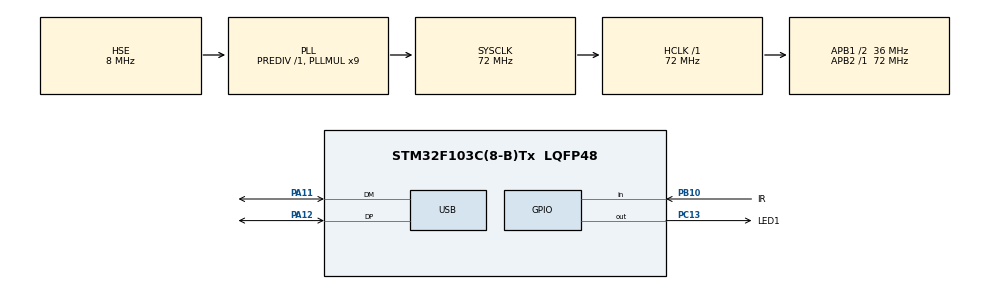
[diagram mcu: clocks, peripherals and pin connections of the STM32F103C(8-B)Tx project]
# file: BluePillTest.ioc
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Mcu.Family=STM32F1
Mcu.Name=STM32F103C(8-B)Tx
Mcu.Package=LQFP48
NVIC.PriorityGroup=NVIC_PRIORITYGROUP_4
NVIC.USB_LP_CAN1_RX0_IRQn=true\:0\:0\:false\:false\:true\:false\:true
PA11.Mode=Device
PA11.Signal=USB_DM
PA12.Mode=Device
PA12.Signal=USB_DP
PA13.Mode=Serial_Wire
PA13.Signal=SYS_JTMS-SWDIO
PA14.Mode=Serial_Wire
PA14.Signal=SYS_JTCK-SWCLK
PB10.GPIO_Label=IR
PB10.Signal=GPIO_Input
PC13-TAMPER-RTC.GPIO_Label=LED1
PC13-TAMPER-RTC.Signal=GPIO_Output
PC14-OSC32_IN.Mode=LSE-External-Oscillator
PC14-OSC32_IN.Signal=RCC_OSC32_IN
PC15-OSC32_OUT.Mode=LSE-External-Oscillator
PC15-OSC32_OUT.Signal=RCC_OSC32_OUT
PD0-OSC_IN.Mode=HSE-External-Oscillator
PD0-OSC_IN.Signal=RCC_OSC_IN
PD1-OSC_OUT.Mode=HSE-External-Oscillator
PD1-OSC_OUT.Signal=RCC_OSC_OUT
ProjectManager.HeapSize=0x200
ProjectManager.StackSize=0x400
ProjectManager.TargetToolchain=STM32CubeIDE
RCC.AHBFreq_Value=72000000
RCC.APB1CLKDivider=RCC_HCLK_DIV2
RCC.APB1Freq_Value=36000000
RCC.APB1TimFreq_Value=72000000
RCC.APB2Freq_Value=72000000
RCC.APB2TimFreq_Value=72000000
RCC.HCLKFreq_Value=72000000
RCC.PLLMUL=RCC_PLL_MUL9
RCC.SYSCLKFreq_VALUE=72000000
RCC.SYSCLKSource=RCC_SYSCLKSOURCE_PLLCLK
RCC.USBFreq_Value=48000000
RCC.USBPrescaler=RCC_USBCLKSOURCE_PLL_DIV1_5
TIM2.Period=65535
TIM2.Prescaler=71
USB_DEVICE.CLASS_NAME_FS=CDC
USB_DEVICE.VirtualMode=Cdc
USB_DEVICE.VirtualModeFS=Cdc_FS
VP_TIM2_VS_ClockSourceINT.Mode=Internal
VP_USB_DEVICE_VS_USB_DEVICE_CDC_FS.Mode=CDC_FS
board=custom

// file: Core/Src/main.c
/* USER CODE BEGIN Header */
/**
 ******************************************************************************
 * @file           : main.c
 * @brief          : Main program body
 ******************************************************************************
 * @attention
 *
 * <h2><center>&copy; Copyright (c) 2020 STMicroelectronics.
 * All rights reserved.</center></h2>
 *
 * This software component is licensed by ST under BSD 3-Clause license,
 * the "License"; You may not use this file except in compliance with the
 * License. You may obtain a copy of the License at:
 *                        opensource.org/licenses/BSD-3-Clause
 *
 ******************************************************************************
 */
/* USER CODE END Header */

#include "main.h"
#include "usb_device.h"

/* USER CODE BEGIN Includes */
#include "dwt_stm32_delay.h"
/* USER CODE END Includes */

TIM_HandleTypeDef htim2;

void SystemClock_Config(void);
static void MX_GPIO_Init(void);
static void MX_TIM2_Init(void);

/* USER CODE BEGIN 0 */

uint32_t receive_data(void) {
	uint32_t code = 0;
	// while (HAL_GPIO_ReadPin (IR_GPIO_Port, IR_Pin));   // wait for the pin to go low

	/* The START Sequence begin here
	 * there will be a pulse of 9ms LOW and
	 * than 4.5 ms space (HIGH)
	 */
	  while (!(HAL_GPIO_ReadPin (IR_GPIO_Port, IR_Pin)));  // wait for the pin to go high.. 9ms LOW

	  while ((HAL_GPIO_ReadPin (IR_GPIO_Port, IR_Pin)));  // wait for the pin to go low.. 4.5ms HIGH
	/* START of FRAME ends here*/

	/* DATA Reception
	 * We are only going to check the SPACE after 562.5us pulse
	 * if the space is 562.5us, the bit indicates '0'
	 * if the space is around 1.6ms, the bit is '1'
	 */

	for (int i = 0; i < 32; i++) {
		uint8_t count = 0;

		while (!(HAL_GPIO_ReadPin(IR_GPIO_Port, IR_Pin)))
			; // wait for pin to go high.. this is 562.5us LOW

		while ((HAL_GPIO_ReadPin(IR_GPIO_Port, IR_Pin))) // count the space length while the pin is high
		{
			count++;
			DWT_Delay_us(100);
		}
		//if (count > 60000)return 0;

		if (count > 12) // if the space is more than 1.2 ms
				{
			code |= (1UL << (31 - i));   // write 1
		} else
			code &= ~(1UL << (31 - i));  // write 0
	}
	return code;
}

/* USER CODE END 0 */

int main(void) {

	/* MCU Configuration--------------------------------------------------------*/

	/* Reset of all peripherals, Initializes the Flash interface and the Systick. */
	HAL_Init();

	/* Configure the system clock */
	SystemClock_Config();

	/* USER CODE BEGIN SysInit */
//  EnableTiming();
	/* USER CODE END SysInit */

	/* Initialize all configured peripherals */
	MX_GPIO_Init();
	MX_USB_DEVICE_Init();
	MX_TIM2_Init();
	/* USER CODE BEGIN 2 */
	DWT_Delay_Init();
	/* USER CODE END 2 */

	/* Infinite loop */
	/* USER CODE BEGIN WHILE */

	while (1) {
		while (HAL_GPIO_ReadPin (IR_GPIO_Port, IR_Pin));   // wait for the pin to go low
		uint32_t data = receive_data();
		uint8_t buffer[10] = "";
		sprintf(buffer, "%02X\n", data);
		CDC_Transmit_FS(buffer, sizeof(buffer));
		HAL_Delay(100);
		if (data == 0xFF3AC5) {
			HAL_GPIO_WritePin(LED1_GPIO_Port, LED1_Pin, GPIO_PIN_RESET); // ON
		} else if (data == 0xFFBA45) {
			HAL_GPIO_WritePin(LED1_GPIO_Port, LED1_Pin, GPIO_PIN_SET); // OFF

		}

		/* USER CODE END WHILE */

	}
}

void SystemClock_Config(void) {
	RCC_OscInitTypeDef RCC_OscInitStruct = { 0 };
	RCC_ClkInitTypeDef RCC_ClkInitStruct = { 0 };
	RCC_PeriphCLKInitTypeDef PeriphClkInit = { 0 };

	/** Initializes the CPU, AHB and APB busses clocks
	 */
	RCC_OscInitStruct.OscillatorType = RCC_OSCILLATORTYPE_HSE;
	RCC_OscInitStruct.HSEState = RCC_HSE_ON;
	RCC_OscInitStruct.HSEPredivValue = RCC_HSE_PREDIV_DIV1;
	RCC_OscInitStruct.HSIState = RCC_HSI_ON;
	RCC_OscInitStruct.PLL.PLLState = RCC_PLL_ON;
	RCC_OscInitStruct.PLL.PLLSource = RCC_PLLSOURCE_HSE;
	RCC_OscInitStruct.PLL.PLLMUL = RCC_PLL_MUL9;
	if (HAL_RCC_OscConfig(&RCC_OscInitStruct) != HAL_OK) {
		Error_Handler();
	}
	/** Initializes the CPU, AHB and APB busses clocks
	 */
	RCC_ClkInitStruct.ClockType = RCC_CLOCKTYPE_HCLK | RCC_CLOCKTYPE_SYSCLK
			| RCC_CLOCKTYPE_PCLK1 | RCC_CLOCKTYPE_PCLK2;
	RCC_ClkInitStruct.SYSCLKSource = RCC_SYSCLKSOURCE_PLLCLK;
	RCC_ClkInitStruct.AHBCLKDivider = RCC_SYSCLK_DIV1;
	RCC_ClkInitStruct.APB1CLKDivider = RCC_HCLK_DIV2;
	RCC_ClkInitStruct.APB2CLKDivider = RCC_HCLK_DIV1;

	if (HAL_RCC_ClockConfig(&RCC_ClkInitStruct, FLASH_LATENCY_2) != HAL_OK) {
		Error_Handler();
	}
	PeriphClkInit.PeriphClockSelection = RCC_PERIPHCLK_USB;
	PeriphClkInit.UsbClockSelection = RCC_USBCLKSOURCE_PLL_DIV1_5;
	if (HAL_RCCEx_PeriphCLKConfig(&PeriphClkInit) != HAL_OK) {
		Error_Handler();
	}
}

static void MX_TIM2_Init(void) {

	TIM_ClockConfigTypeDef sClockSourceConfig = { 0 };
	TIM_MasterConfigTypeDef sMasterConfig = { 0 };

	htim2.Instance = TIM2;
	htim2.Init.Prescaler = 71;
	htim2.Init.CounterMode = TIM_COUNTERMODE_UP;
	htim2.Init.Period = 65535;
	htim2.Init.ClockDivision = TIM_CLOCKDIVISION_DIV1;
	htim2.Init.AutoReloadPreload = TIM_AUTORELOAD_PRELOAD_DISABLE;
	if (HAL_TIM_Base_Init(&htim2) != HAL_OK) {
		Error_Handler();
	}
	sClockSourceConfig.ClockSource = TIM_CLOCKSOURCE_INTERNAL;
	if (HAL_TIM_ConfigClockSource(&htim2, &sClockSourceConfig) != HAL_OK) {
		Error_Handler();
	}
	sMasterConfig.MasterOutputTrigger = TIM_TRGO_RESET;
	sMasterConfig.MasterSlaveMode = TIM_MASTERSLAVEMODE_DISABLE;
	if (HAL_TIMEx_MasterConfigSynchronization(&htim2, &sMasterConfig)
			!= HAL_OK) {
		Error_Handler();
	}

}

static void MX_GPIO_Init(void) {
	GPIO_InitTypeDef GPIO_InitStruct = { 0 };

	/* GPIO Ports Clock Enable */
	__HAL_RCC_GPIOC_CLK_ENABLE();
	__HAL_RCC_GPIOD_CLK_ENABLE();
	__HAL_RCC_GPIOB_CLK_ENABLE();
	__HAL_RCC_GPIOA_CLK_ENABLE();

	/*Configure GPIO pin Output Level */
	HAL_GPIO_WritePin(LED1_GPIO_Port, LED1_Pin, GPIO_PIN_RESET);

	/*Configure GPIO pin : LED1_Pin */
	GPIO_InitStruct.Pin = LED1_Pin;
	GPIO_InitStruct.Mode = GPIO_MODE_OUTPUT_PP;
	GPIO_InitStruct.Pull = GPIO_PULLUP;
	GPIO_InitStruct.Speed = GPIO_SPEED_FREQ_LOW;
	HAL_GPIO_Init(LED1_GPIO_Port, &GPIO_InitStruct);

	/*Configure GPIO pin : IR_Pin */
	GPIO_InitStruct.Pin = IR_Pin;
	GPIO_InitStruct.Mode = GPIO_MODE_INPUT;
	GPIO_InitStruct.Pull = GPIO_NOPULL;
	HAL_GPIO_Init(IR_GPIO_Port, &GPIO_InitStruct);

}

void Error_Handler(void) {
}

/************************ (C) COPYRIGHT STMicroelectronics *****END OF FILE****/
